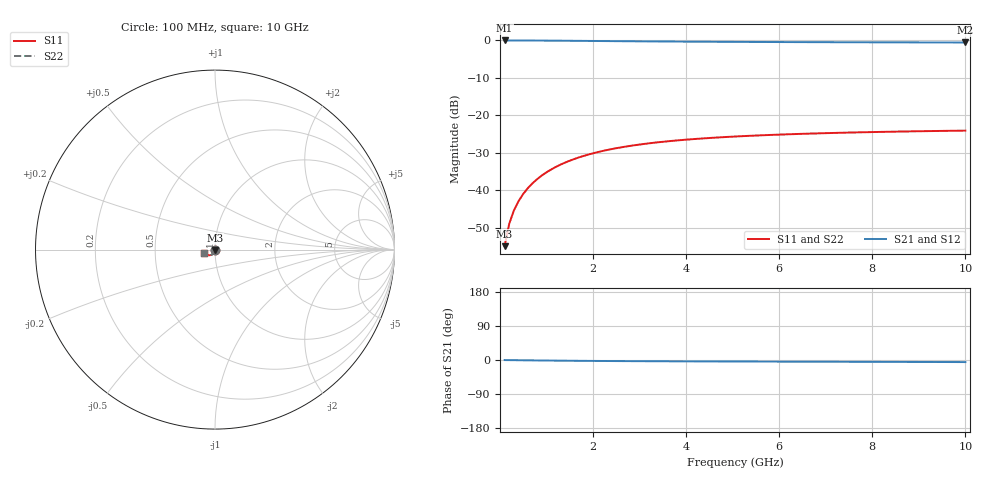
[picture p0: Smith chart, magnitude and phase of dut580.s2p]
! Touchstone file exported from HFSS 2024.1.0
!  File:  C:/UserFiles/LocalFiles/RDL_TSV_Batchsim/temp_TSV1_580_1779709119.aedt
!  Generated:  07:45:27 PM May 25, 2026
!  Design:  TSV1
!  Project:  temp_TSV1_580_1779709119
!  Setup:  Setup1
!  Solution:  Sweep
! Variables:
!  dtsv = 13.64um
!  hbump = 3um
!  htsv = 84.28um
!  lrdl = 252.1521522um
!  p = 40
!  p1 = 49.3um
!  t = 500um
!  trdl = 3um
!  wrdl = 24.89489489um
# GHz S MA R 50.000000
! Terminal data exported
! Port[1] = TSV22_T1
! Port[2] = TSV22_T2
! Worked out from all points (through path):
!   100 points, 100 MHz to 10 GHz, reference 50 ohm
!   highest |S21| = 0.00 dB at 100 MHz (marker M1); lowest = -0.5 dB at 10 GHz (marker M2)
!   lowest |S11| = -54.9 dB at 100 MHz (marker M3), VSWR 1.00, Z = 50 - j0.181 ohm
!   |S11| at or under -10 dB: start of sweep to end of sweep
!   |S22| runs from -54.9 to -24.0 dB; largest |S21 - S12| = 8.4e-15
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0.1  0.001807 -88.9  0.9999 -0.2  0.9999 -0.2  0.001807 -88.9
! Gamma 0 0 0 0
! Port Impedance 50 0 50 0
0.2  0.003612 -91.8  0.9997 -0.3  0.9997 -0.3  0.003612 -91.8
0.3  0.005416 -93.9  0.9994 -0.4  0.9994 -0.4  0.005416 -93.9
0.4  0.00721 -95.8  0.999 -0.6  0.999 -0.6  0.00721 -95.8
0.5  0.008987 -97.6  0.9985 -0.7  0.9985 -0.7  0.008987 -97.6
0.6  0.01074 -99.4  0.9979 -0.9  0.9979 -0.9  0.01074 -99.4
0.7  0.01247 -101.1  0.9973 -1.0  0.9973 -1.0  0.01247 -101.1
0.8  0.01417 -102.8  0.9966 -1.1  0.9966 -1.1  0.01417 -102.8
0.9  0.01583 -104.5  0.9958 -1.3  0.9958 -1.3  0.01583 -104.5
1.1  0.01903 -107.7  0.994 -1.5  0.994 -1.5  0.01903 -107.7
1.4  0.02353 -112.2  0.9909 -1.9  0.9909 -1.9  0.02353 -112.2
1.6  0.0263 -115.1  0.9888 -2.1  0.9888 -2.1  0.0263 -115.1
1.8  0.02889 -117.8  0.9865 -2.3  0.9865 -2.3  0.02889 -117.8
2.1  0.03244 -121.5  0.9831 -2.5  0.9831 -2.5  0.03244 -121.5
2.5  0.03659 -126.1  0.9786 -2.8  0.9786 -2.8  0.03659 -126.1
2.9  0.04014 -130.1  0.9744 -3.1  0.9744 -3.1  0.04014 -130.1
3.4  0.04388 -134.6  0.9695 -3.3  0.9695 -3.3  0.04388 -134.6
4.2  0.04859 -140.5  0.9629 -3.7  0.9629 -3.7  0.04859 -140.5
5.1  0.05255 -145.9  0.9569 -4.0  0.9569 -4.0  0.05255 -145.9
6.7  0.05738 -153.2  0.9491 -4.5  0.9491 -4.5  0.05738 -153.2
8.4  0.06068 -159.0  0.9435 -5.0  0.9435 -5.0  0.06068 -159.0
10  0.06279 -163.3  0.9398 -5.5  0.9398 -5.5  0.06279 -163.3
